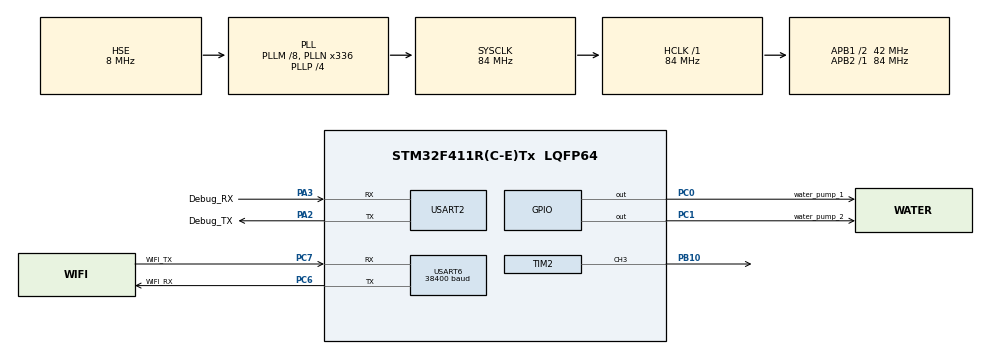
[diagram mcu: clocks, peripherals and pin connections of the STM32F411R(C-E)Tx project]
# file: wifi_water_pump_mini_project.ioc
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Dma.Request0=TIM2_CH3/UP
Dma.TIM2_CH3/UP.0.Direction=DMA_MEMORY_TO_PERIPH
Dma.TIM2_CH3/UP.0.FIFOMode=DMA_FIFOMODE_DISABLE
Dma.TIM2_CH3/UP.0.Instance=DMA1_Stream1
Dma.TIM2_CH3/UP.0.MemDataAlignment=DMA_MDATAALIGN_WORD
Dma.TIM2_CH3/UP.0.MemInc=DMA_MINC_ENABLE
Dma.TIM2_CH3/UP.0.Mode=DMA_NORMAL
Dma.TIM2_CH3/UP.0.PeriphDataAlignment=DMA_PDATAALIGN_WORD
Dma.TIM2_CH3/UP.0.PeriphInc=DMA_PINC_DISABLE
Dma.TIM2_CH3/UP.0.Priority=DMA_PRIORITY_VERY_HIGH
Mcu.Family=STM32F4
Mcu.Name=STM32F411R(C-E)Tx
Mcu.Package=LQFP64
NVIC.DMA1_Stream1_IRQn=true\:0\:0\:false\:false\:true\:false\:true\:true
NVIC.PriorityGroup=NVIC_PRIORITYGROUP_0
NVIC.TIM3_IRQn=true\:0\:0\:false\:false\:true\:true\:true\:true
NVIC.TIM4_IRQn=true\:0\:0\:false\:false\:true\:true\:true\:true
NVIC.USART2_IRQn=true\:0\:0\:false\:false\:true\:true\:true\:true
NVIC.USART6_IRQn=true\:0\:0\:false\:false\:true\:true\:true\:true
PA13.GPIO_Label=TMS
PA13.Mode=Serial_Wire
PA13.Signal=SYS_JTMS-SWDIO
PA14.GPIO_Label=TCK
PA14.Mode=Serial_Wire
PA14.Signal=SYS_JTCK-SWCLK
PA2.GPIO_Label=Debug_TX
PA2.Mode=Asynchronous
PA2.Signal=USART2_TX
PA3.GPIO_Label=Debug_RX
PA3.Mode=Asynchronous
PA3.Signal=USART2_RX
PB10.Signal=S_TIM2_CH3
PB3.GPIO_Label=SWO
PB3.Signal=SYS_JTDO-SWO
PC0.GPIO_Label=water_pump_1
PC0.Signal=GPIO_Output
PC1.GPIO_Label=water_pump_2
PC1.Signal=GPIO_Output
PC14-OSC32_IN.Signal=RCC_OSC32_IN
PC15-OSC32_OUT.Signal=RCC_OSC32_OUT
PC6.GPIO_Label=WIFI_RX
PC6.Mode=Asynchronous
PC6.Signal=USART6_TX
PC7.GPIO_Label=WIFI_TX
PC7.Mode=Asynchronous
PC7.Signal=USART6_RX
PH0\ -\ OSC_IN.Signal=RCC_OSC_IN
PH1\ -\ OSC_OUT.Signal=RCC_OSC_OUT
ProjectManager.HeapSize=0x200
ProjectManager.StackSize=0x400
ProjectManager.TargetToolchain=STM32CubeIDE
RCC.48MHZClocksFreq_Value=84000000
RCC.AHBFreq_Value=84000000
RCC.APB1CLKDivider=RCC_HCLK_DIV2
RCC.APB1Freq_Value=42000000
RCC.APB1TimFreq_Value=84000000
RCC.APB2Freq_Value=84000000
RCC.APB2TimFreq_Value=84000000
RCC.CortexFreq_Value=84000000
RCC.FLatency-AdvancedSettings=FLASH_LATENCY_2
RCC.HCLKFreq_Value=84000000
RCC.HSE_VALUE=8000000
RCC.HSI_VALUE=16000000
RCC.LSE_VALUE=32768
RCC.PLLM=8
RCC.PLLN=336
RCC.PLLP=RCC_PLLP_DIV4
RCC.PLLSourceVirtual=RCC_PLLSOURCE_HSE
RCC.SYSCLKFreq_VALUE=84000000
RCC.SYSCLKSource=RCC_SYSCLKSOURCE_PLLCLK
RCC.VCOOutputFreq_Value=336000000
SH.S_TIM2_CH3.0=TIM2_CH3,PWM Generation3 CH3
TIM2.Channel-PWM\ Generation3\ CH3=TIM_CHANNEL_3
TIM2.Period=104
TIM3.AutoReloadPreload=TIM_AUTORELOAD_PRELOAD_ENABLE
TIM3.Period=1000-1
TIM3.Prescaler=84-1
TIM4.Period=1000-1
TIM4.Prescaler=84-1
USART2.VirtualMode=VM_ASYNC
USART6.BaudRate=38400
USART6.VirtualMode=VM_ASYNC
VP_TIM2_VS_ClockSourceINT.Mode=Internal
VP_TIM3_VS_ClockSourceINT.Mode=Internal
VP_TIM4_VS_ClockSourceINT.Mode=Internal
board=NUCLEO-F411RE

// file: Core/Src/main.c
/* USER CODE BEGIN Header */
/**
  ******************************************************************************
  * @file           : main.c
  * @brief          : Main program body
  ******************************************************************************
  * @attention
  *
  * Copyright (c) 2024 STMicroelectronics.
  * All rights reserved.
  *
  * This software is licensed under terms that can be found in the LICENSE file
  * in the root directory of this software component.
  * If no LICENSE file comes with this software, it is provided AS-IS.
  *
  ******************************************************************************
  */
/* USER CODE END Header */
#include "main.h"

/* USER CODE BEGIN Includes */
#include <stdio.h>
#include <string.h>
#include <stdlib.h>
#include "esp.h"
/* USER CODE END Includes */

/* USER CODE BEGIN PD */
#ifdef __GNUC__
/* With GCC, small printf (option LD Linker->Libraries->Small printf
   set to 'Yes') calls __io_putchar() */
#define PUTCHAR_PROTOTYPE int __io_putchar(int ch)
#else
#define PUTCHAR_PROTOTYPE int fputc(int ch, FILE *f)

#endif /* __GNUC__ */
#define ARR_CNT 5
#define CMD_SIZE 50

#define NEOPIXEL_ZERO 33
#define NEOPIXEL_ONE 67

#define NUM_PIXELS 4
#define DMA_BUFF_SIZE (NUM_PIXELS * 24) + 1

/* USER CODE END PD */

TIM_HandleTypeDef htim2;
TIM_HandleTypeDef htim3;
TIM_HandleTypeDef htim4;
DMA_HandleTypeDef hdma_tim2_ch3_up;

UART_HandleTypeDef huart2;
UART_HandleTypeDef huart6;

/* USER CODE BEGIN PV */
uint8_t rx2char;
extern cb_data_t cb_data;
extern volatile unsigned char rx2Flag;
extern volatile char rx2Data[50];
volatile int tim3Flag1Sec=1;
volatile int waterpump_off_flag=1;
volatile unsigned int tim3Sec;
volatile int waterflag = 0;

volatile int ledflag = 0;

typedef struct{
	char* water_ary1;
	char* water_ary2;
	char* water_ary3;
}WATER;

typedef union
{
  struct
  {
    uint8_t b;
    uint8_t r;
    uint8_t g;
  } color;
  uint32_t data;
} PixelRGB_t;

PixelRGB_t pixel[NUM_PIXELS] = {0};
uint32_t dmaBuffer[DMA_BUFF_SIZE] = {0};
uint32_t *pBuff;

WATER water_buf = {0,0,"OFF"};
/* USER CODE END PV */

void SystemClock_Config(void);
static void MX_GPIO_Init(void);
static void MX_DMA_Init(void);
static void MX_USART2_UART_Init(void);
static void MX_USART6_UART_Init(void);
static void MX_TIM3_Init(void);
static void MX_TIM4_Init(void);
static void MX_TIM2_Init(void);
/* USER CODE BEGIN PFP */
char strBuff[MAX_ESP_COMMAND_LEN];
void esp_event(char *);
void water(WATER*);
void HAL_TIM_PWM_PulseFinishedCallback(TIM_HandleTypeDef *htim);
/* USER CODE END PFP */

int main(void)
{

  /* USER CODE BEGIN 1 */
	int ret = 0;
  /* USER CODE END 1 */

  /* MCU Configuration--------------------------------------------------------*/

  /* Reset of all peripherals, Initializes the Flash interface and the Systick. */
  HAL_Init();

  /* Configure the system clock */
  SystemClock_Config();

  /* Initialize all configured peripherals */
  MX_GPIO_Init();
  MX_DMA_Init();
  MX_USART2_UART_Init();
  MX_USART6_UART_Init();
  MX_TIM3_Init();
  MX_TIM4_Init();
  MX_TIM2_Init();
  /* USER CODE BEGIN 2 */
  for (int i = 0; i < NUM_PIXELS; i++)  // led off
      {
          pixel[i].color.r = 0;
          pixel[i].color.g = 0;
          pixel[i].color.b = 0;
      }
      // RGB 데이터를 DMA 버퍼로 변환
      pBuff = dmaBuffer;
      for (int i = 0; i < NUM_PIXELS; i++)
      {
          for (int j = 23; j >= 0; j--)
          {
              *pBuff++ = (pixel[i].data >> j) & 0x01 ? NEOPIXEL_ONE : NEOPIXEL_ZERO;
          }
      }
      dmaBuffer[DMA_BUFF_SIZE - 1] = 0;
      HAL_TIM_PWM_Start_DMA(&htim2, TIM_CHANNEL_3, dmaBuffer, DMA_BUFF_SIZE);

  printf("Start main() - wifi\r\n");
  ret |= drv_uart_init();
  ret |= drv_esp_init();
  if(ret != 0)
  {
	  printf("Esp response error\r\n");
	  Error_Handler();
  }

  AiotClient_Init();

  if(HAL_TIM_Base_Start_IT(&htim3) != HAL_OK)
  {
	  Error_Handler();
  }
  if(HAL_TIM_Base_Start_IT(&htim4) != HAL_OK)
    {
  	  Error_Handler();
    }

  /* USER CODE END 2 */

  /* Infinite loop */
  /* USER CODE BEGIN WHILE */
  while (1)
  {
		if(strstr((char *)cb_data.buf,"+IPD") && cb_data.buf[cb_data.length-1] == '\n')
		{
			strcpy(strBuff,strchr((char *)cb_data.buf,'['));
			memset(cb_data.buf,0x0,sizeof(cb_data.buf));
			cb_data.length = 0;
			esp_event(strBuff);
		}
		if(rx2Flag)
		{
			printf("recv2 : %s\r\n",rx2Data);
			rx2Flag =0;
		}
		if(tim3Flag1Sec)	//1초에 한번
		{
			tim3Flag1Sec = 0;
			if(!(tim3Sec%10)) //10초에 한번
			{
				if(esp_get_status() != 0)
				{
					printf("server connecting ...\r\n");
					esp_client_conn();
				}
			}
//			printf("tim3Sec : %d\r\n",tim3Sec);
		}
		if(waterflag)
		{
			water(&water_buf);
		}
    /* USER CODE END WHILE */

  }
}

void SystemClock_Config(void)
{
  RCC_OscInitTypeDef RCC_OscInitStruct = {0};
  RCC_ClkInitTypeDef RCC_ClkInitStruct = {0};

  /** Configure the main internal regulator output voltage
  */
  __HAL_RCC_PWR_CLK_ENABLE();
  __HAL_PWR_VOLTAGESCALING_CONFIG(PWR_REGULATOR_VOLTAGE_SCALE1);

  /** Initializes the RCC Oscillators according to the specified parameters
  * in the RCC_OscInitTypeDef structure.
  */
  RCC_OscInitStruct.OscillatorType = RCC_OSCILLATORTYPE_HSE;
  RCC_OscInitStruct.HSEState = RCC_HSE_OFF;
  RCC_OscInitStruct.PLL.PLLState = RCC_PLL_ON;
  RCC_OscInitStruct.PLL.PLLSource = RCC_PLLSOURCE_HSE;
  RCC_OscInitStruct.PLL.PLLM = 8;
  RCC_OscInitStruct.PLL.PLLN = 336;
  RCC_OscInitStruct.PLL.PLLP = RCC_PLLP_DIV4;
  RCC_OscInitStruct.PLL.PLLQ = 4;
  if (HAL_RCC_OscConfig(&RCC_OscInitStruct) != HAL_OK)
  {
    Error_Handler();
  }

  /** Initializes the CPU, AHB and APB buses clocks
  */
  RCC_ClkInitStruct.ClockType = RCC_CLOCKTYPE_HCLK|RCC_CLOCKTYPE_SYSCLK
                              |RCC_CLOCKTYPE_PCLK1|RCC_CLOCKTYPE_PCLK2;
  RCC_ClkInitStruct.SYSCLKSource = RCC_SYSCLKSOURCE_PLLCLK;
  RCC_ClkInitStruct.AHBCLKDivider = RCC_SYSCLK_DIV1;
  RCC_ClkInitStruct.APB1CLKDivider = RCC_HCLK_DIV2;
  RCC_ClkInitStruct.APB2CLKDivider = RCC_HCLK_DIV1;

  if (HAL_RCC_ClockConfig(&RCC_ClkInitStruct, FLASH_LATENCY_2) != HAL_OK)
  {
    Error_Handler();
  }
}

static void MX_TIM2_Init(void)
{

  TIM_ClockConfigTypeDef sClockSourceConfig = {0};
  TIM_MasterConfigTypeDef sMasterConfig = {0};
  TIM_OC_InitTypeDef sConfigOC = {0};

  htim2.Instance = TIM2;
  htim2.Init.Prescaler = 0;
  htim2.Init.CounterMode = TIM_COUNTERMODE_UP;
  htim2.Init.Period = 104;
  htim2.Init.ClockDivision = TIM_CLOCKDIVISION_DIV1;
  htim2.Init.AutoReloadPreload = TIM_AUTORELOAD_PRELOAD_DISABLE;
  if (HAL_TIM_Base_Init(&htim2) != HAL_OK)
  {
    Error_Handler();
  }
  sClockSourceConfig.ClockSource = TIM_CLOCKSOURCE_INTERNAL;
  if (HAL_TIM_ConfigClockSource(&htim2, &sClockSourceConfig) != HAL_OK)
  {
    Error_Handler();
  }
  if (HAL_TIM_PWM_Init(&htim2) != HAL_OK)
  {
    Error_Handler();
  }
  sMasterConfig.MasterOutputTrigger = TIM_TRGO_RESET;
  sMasterConfig.MasterSlaveMode = TIM_MASTERSLAVEMODE_DISABLE;
  if (HAL_TIMEx_MasterConfigSynchronization(&htim2, &sMasterConfig) != HAL_OK)
  {
    Error_Handler();
  }
  sConfigOC.OCMode = TIM_OCMODE_PWM1;
  sConfigOC.Pulse = 0;
  sConfigOC.OCPolarity = TIM_OCPOLARITY_HIGH;
  sConfigOC.OCFastMode = TIM_OCFAST_DISABLE;
  if (HAL_TIM_PWM_ConfigChannel(&htim2, &sConfigOC, TIM_CHANNEL_3) != HAL_OK)
  {
    Error_Handler();
  }
  HAL_TIM_MspPostInit(&htim2);

}

static void MX_TIM3_Init(void)
{

  TIM_ClockConfigTypeDef sClockSourceConfig = {0};
  TIM_MasterConfigTypeDef sMasterConfig = {0};

  htim3.Instance = TIM3;
  htim3.Init.Prescaler = 84-1;
  htim3.Init.CounterMode = TIM_COUNTERMODE_UP;
  htim3.Init.Period = 1000-1;
  htim3.Init.ClockDivision = TIM_CLOCKDIVISION_DIV1;
  htim3.Init.AutoReloadPreload = TIM_AUTORELOAD_PRELOAD_ENABLE;
  if (HAL_TIM_Base_Init(&htim3) != HAL_OK)
  {
    Error_Handler();
  }
  sClockSourceConfig.ClockSource = TIM_CLOCKSOURCE_INTERNAL;
  if (HAL_TIM_ConfigClockSource(&htim3, &sClockSourceConfig) != HAL_OK)
  {
    Error_Handler();
  }
  sMasterConfig.MasterOutputTrigger = TIM_TRGO_RESET;
  sMasterConfig.MasterSlaveMode = TIM_MASTERSLAVEMODE_DISABLE;
  if (HAL_TIMEx_MasterConfigSynchronization(&htim3, &sMasterConfig) != HAL_OK)
  {
    Error_Handler();
  }

}

static void MX_TIM4_Init(void)
{

  TIM_ClockConfigTypeDef sClockSourceConfig = {0};
  TIM_MasterConfigTypeDef sMasterConfig = {0};

  htim4.Instance = TIM4;
  htim4.Init.Prescaler = 84-1;
  htim4.Init.CounterMode = TIM_COUNTERMODE_UP;
  htim4.Init.Period = 1000-1;
  htim4.Init.ClockDivision = TIM_CLOCKDIVISION_DIV1;
  htim4.Init.AutoReloadPreload = TIM_AUTORELOAD_PRELOAD_DISABLE;
  if (HAL_TIM_Base_Init(&htim4) != HAL_OK)
  {
    Error_Handler();
  }
  sClockSourceConfig.ClockSource = TIM_CLOCKSOURCE_INTERNAL;
  if (HAL_TIM_ConfigClockSource(&htim4, &sClockSourceConfig) != HAL_OK)
  {
    Error_Handler();
  }
  sMasterConfig.MasterOutputTrigger = TIM_TRGO_RESET;
  sMasterConfig.MasterSlaveMode = TIM_MASTERSLAVEMODE_DISABLE;
  if (HAL_TIMEx_MasterConfigSynchronization(&htim4, &sMasterConfig) != HAL_OK)
  {
    Error_Handler();
  }

}

static void MX_USART2_UART_Init(void)
{

  huart2.Instance = USART2;
  huart2.Init.BaudRate = 115200;
  huart2.Init.WordLength = UART_WORDLENGTH_8B;
  huart2.Init.StopBits = UART_STOPBITS_1;
  huart2.Init.Parity = UART_PARITY_NONE;
  huart2.Init.Mode = UART_MODE_TX_RX;
  huart2.Init.HwFlowCtl = UART_HWCONTROL_NONE;
  huart2.Init.OverSampling = UART_OVERSAMPLING_16;
  if (HAL_UART_Init(&huart2) != HAL_OK)
  {
    Error_Handler();
  }

}

static void MX_USART6_UART_Init(void)
{

  huart6.Instance = USART6;
  huart6.Init.BaudRate = 38400;
  huart6.Init.WordLength = UART_WORDLENGTH_8B;
  huart6.Init.StopBits = UART_STOPBITS_1;
  huart6.Init.Parity = UART_PARITY_NONE;
  huart6.Init.Mode = UART_MODE_TX_RX;
  huart6.Init.HwFlowCtl = UART_HWCONTROL_NONE;
  huart6.Init.OverSampling = UART_OVERSAMPLING_16;
  if (HAL_UART_Init(&huart6) != HAL_OK)
  {
    Error_Handler();
  }

}

static void MX_DMA_Init(void)
{

  /* DMA controller clock enable */
  __HAL_RCC_DMA1_CLK_ENABLE();

  /* DMA interrupt init */
  /* DMA1_Stream1_IRQn interrupt configuration */
  HAL_NVIC_SetPriority(DMA1_Stream1_IRQn, 0, 0);
  HAL_NVIC_EnableIRQ(DMA1_Stream1_IRQn);

}

static void MX_GPIO_Init(void)
{
  GPIO_InitTypeDef GPIO_InitStruct = {0};

  /* GPIO Ports Clock Enable */
  __HAL_RCC_GPIOC_CLK_ENABLE();
  __HAL_RCC_GPIOH_CLK_ENABLE();
  __HAL_RCC_GPIOA_CLK_ENABLE();
  __HAL_RCC_GPIOB_CLK_ENABLE();

  /*Configure GPIO pin Output Level */
  HAL_GPIO_WritePin(GPIOC, water_pump_1_Pin|water_pump_2_Pin, GPIO_PIN_RESET);

  /*Configure GPIO pins : water_pump_1_Pin water_pump_2_Pin */
  GPIO_InitStruct.Pin = water_pump_1_Pin|water_pump_2_Pin;
  GPIO_InitStruct.Mode = GPIO_MODE_OUTPUT_PP;
  GPIO_InitStruct.Pull = GPIO_NOPULL;
  GPIO_InitStruct.Speed = GPIO_SPEED_FREQ_LOW;
  HAL_GPIO_Init(GPIOC, &GPIO_InitStruct);

}

/* USER CODE BEGIN 4 */
void esp_event(char * recvBuf)
{
  int i=0;
  char * pToken;
  char * pArray[ARR_CNT]={0};
  char sendBuf[MAX_UART_COMMAND_LEN]={0};

  strBuff[strlen(recvBuf)-1] = '\0';	//'\n' cut
  printf("\r\nDebug recv : %s\r\n",recvBuf);

  pToken = strtok(recvBuf,"[@]");
  while(pToken != NULL)
  {
    pArray[i] = pToken;
    if(++i >= ARR_CNT)
      break;
    pToken = strtok(NULL,"[@]");
  }

  if (!strcmp(pArray[1], "LED"))
      {
          if (!strcmp(pArray[2], "ON"))
          {
              // 모든 픽셀을 흰색으로 설정
              for (int i = 0; i < NUM_PIXELS; i++)
              {
                  pixel[i].color.r = 255;
                  pixel[i].color.g = 255;
                  pixel[i].color.b = 255;
              }
          }
          else if (!strcmp(pArray[2], "OFF"))
          {
              // 모든 픽셀을 끄기
              for (int i = 0; i < NUM_PIXELS; i++)
              {
                  pixel[i].color.r = 0;
                  pixel[i].color.g = 0;
                  pixel[i].color.b = 0;
              }
          }
          // RGB 데이터를 DMA 버퍼로 변환
          pBuff = dmaBuffer;
          for (int i = 0; i < NUM_PIXELS; i++)
          {
              for (int j = 23; j >= 0; j--)
              {
                  *pBuff++ = (pixel[i].data >> j) & 0x01 ? NEOPIXEL_ONE : NEOPIXEL_ZERO;
              }
          }
    dmaBuffer[DMA_BUFF_SIZE - 1] = 0;
    HAL_TIM_PWM_Start_DMA(&htim2, TIM_CHANNEL_3, dmaBuffer, DMA_BUFF_SIZE);

	sprintf(sendBuf,"[%s]%s@%s\n",pArray[0],pArray[1],pArray[2]);
	esp_send_data(sendBuf);
	printf("Debug send : %s\r\n",sendBuf);
  }
  else if(!strcmp(pArray[1],"WATER"))
  {
	water_buf.water_ary1 = pArray[0]; // sender_name
	water_buf.water_ary2 = pArray[1]; // function = WATER
	waterflag = 1;
  }
  else if(!strncmp(pArray[1]," New conn",8))
  {
//	   printf("Debug : %s, %s\r\n",pArray[0],pArray[1]);
     return;
  }
  else if(!strncmp(pArray[1]," Already log",8))
  {
// 	    printf("Debug : %s, %s\r\n",pArray[0],pArray[1]);
	  esp_client_conn();
      return;
  }
  else
      return;
}
void water(WATER* water_buf)
{
	static char sendBuf[MAX_UART_COMMAND_LEN]={0};
	if(waterpump_off_flag == 1)
	{
		HAL_GPIO_WritePin(GPIOC, water_pump_1_Pin, GPIO_PIN_SET);
		HAL_GPIO_WritePin(GPIOC, water_pump_2_Pin, GPIO_PIN_RESET);
	}
	else if(waterpump_off_flag == 0)
	{
		HAL_GPIO_WritePin(GPIOC, water_pump_1_Pin| water_pump_2_Pin, GPIO_PIN_SET);
		waterflag = 0;
		waterpump_off_flag = 1;
		sprintf(sendBuf,"[%s]%s@%s\n",water_buf->water_ary1,water_buf->water_ary2,water_buf->water_ary3);
		esp_send_data(sendBuf);
		printf("Debug send : %s\r\n",sendBuf);
	}
}

void HAL_TIM_PeriodElapsedCallback(TIM_HandleTypeDef *htim)		//1ms 마다 호출
{
	static int tim3Cnt = 0; // 1sec
	static int tim4Cnt = 0; // 5sec
	if(htim->Instance == TIM3)
	{
		tim3Cnt++;
		if(tim3Cnt >= 1000) //1ms * 1000 = 1Sec
		{
			tim3Flag1Sec = 1;
			tim3Sec++;
			tim3Cnt = 0;
		}
	}
	if(htim->Instance == TIM4) // water pump
	{
		if(waterflag)
		{
			tim4Cnt++;
			if(tim4Cnt >= 5000) //1ms * 1000 = 1Sec
			{
				//printf("Hello\r\n");
				waterpump_off_flag = 0;
				tim4Cnt = 0;
			}
		}
		else return;
	}
}

void HAL_TIM_PWM_PulseFinishedCallback(TIM_HandleTypeDef *htim)
{
  HAL_TIM_PWM_Stop_DMA(htim, TIM_CHANNEL_3);
}

/* USER CODE END 4 */

void Error_Handler(void)
{
  __disable_irq();
  while (1)
  {
  }
}
